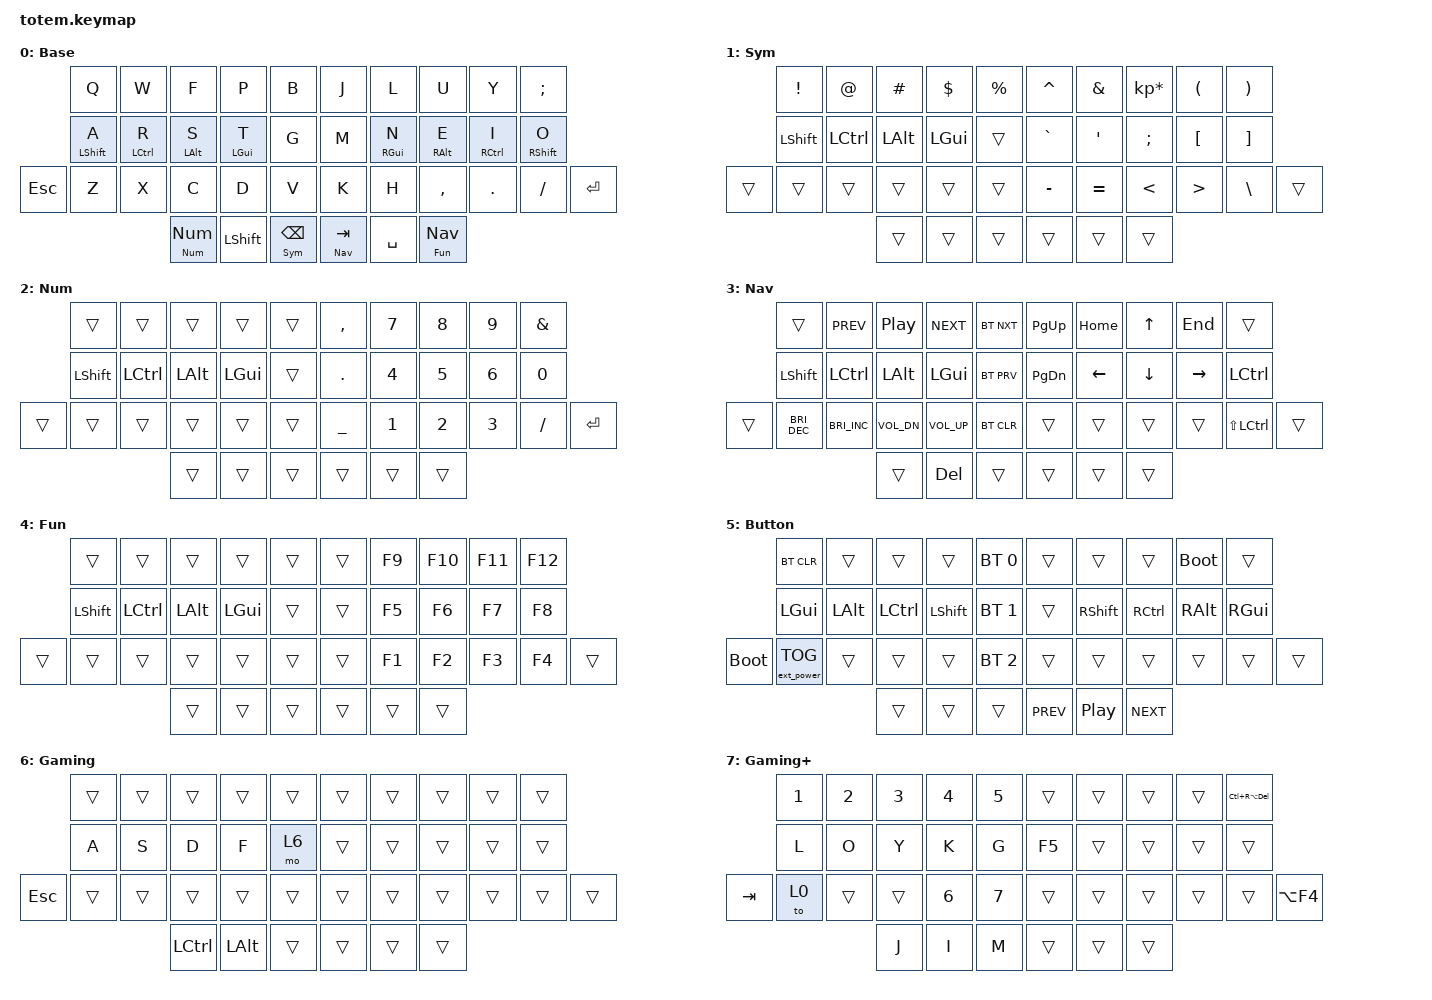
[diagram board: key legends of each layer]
//
//
//                                                        ▀▀▀▀▀     ▀▀▀▀▀          ▀▀█▀▀
//                                                        ▄▀▀▀▄  ▄  ▄▀▀▀▄  ▄  ▄▀▀▀▄  █  ▄▀▀▀▄
//                                                        █   █  █  █   █  █  █   █  █  █   █
//                                                         ▀▀▀   █   ▀▀▀   █   ▀▀▀   ▀   ▀▀▀
//                                                               █      ▄▄▄█▄▄▄    █   █  
//                                                               ▀      █  █  █     █▄█
//                                                             ▀▀▀▀▀    █  █  █      ▀
//                                                                      ▀  ▀  ▀
//
// ▄▄▄▄▄▄▄▄▄▄▄▄▄▄▄▄▄▄▄▄▄▄▄▄▄▄▄▄▄▄▄▄▄▄▄▄▄▄▄▄▄▄▄▄▄▄▄▄▄▄▄▄▄▄▄▄▄▄▄▄▄▄▄▄▄▄▄▄▄▄▄▄▄▄▄▄▄▄▄▄▄▄▄▄▄▄▄▄▄▄▄▄▄▄▄▄▄▄▄▄▄▄▄▄▄▄▄▄▄▄▄▄▄▄▄▄▄▄▄▄▄▄▄▄▄▄▄▄▄▄▄▄▄▄▄▄▄▄▄▄▄▄▄▄▄▄▄▄▄

#include <behaviors.dtsi>
#include <dt-bindings/zmk/bt.h>
#include <dt-bindings/zmk/ext_power.h>
#include <dt-bindings/zmk/keys.h>

#define Base        0
#define Sym         1
#define Num         2
#define Nav         3
#define Fun         4
#define Mouse       5
#define Button      7
#define Game        8
#define Gameplus    9

&mt {
    quick-tap-ms = <100>;
    global-quick-tap;
    flavor = "tap-preferred";
    tapping-term-ms = <170>;
};

&lt {
    tapping-term-ms = <240>;
    flavor = "balanced";
    quick-tap-ms = <150>;
};

/ {
    behaviors {
        hm: homerow_mods {
            compatible = "zmk,behavior-hold-tap";
            label = "HOMEROW_MODS";
            #binding-cells = <2>;
            flavor = "tap-preferred";
            tapping-term-ms = <250>;
            quick-tap-ms = <125>;
            require-prior-idle-ms = <125>;
            global-quick-tap;
            bindings =
                <&kp>,
                <&kp>;
        };
        mo_tog: behavior_mo_tog {
            compatible = "zmk,behavior-hold-tap";
            #binding-cells = <2>;
            flavor = "hold-preferred";
            tapping-term-ms = <180>;
            bindings = <&mo>, <&tog>;
        };
    };

    combos {
        compatible = "zmk,combos";
        combo_to_base {
            timeout-ms = <50>;
            key-positions = <0 1 2 3>;
            bindings = <&to Base>;
        };
    };

    keymap {
        compatible = "zmk,keymap";

        Base {
            label = "Base";
            bindings = <
            &kp Q       &kp W       &kp F           &kp P           &kp B           &kp J       &kp L       &kp U           &kp Y       &kp SEMICOLON
            &hm LSHFT A &hm LCTRL R &hm LALT S      &hm LGUI T      &kp G           &kp M       &hm RGUI N  &hm RALT E      &hm RCTRL I &hm RSHFT O
&kp ESCAPE  &kp Z       &kp X       &kp C           &kp D           &kp V           &kp K       &kp H       &kp COMMA       &kp DOT     &kp SLASH       &kp RET
                                    &mo_tog Num Num &kp LSHIFT      &lt Sym BSPC    &lt Nav TAB &kp SPACE   &mo_tog Fun Nav
            >;
        };

        Sym {
            label = "Sym";
            bindings = <
        &kp EXCL    &kp AT      &kp HASH    &kp DOLLAR  &kp PERCENT &kp CARET   &kp AMPERSAND   &kp KP_ASTERISK &kp LPAR    &kp RPAR
        &kp LSHFT   &kp LCTRL   &kp LALT    &kp LGUI    &trans      &kp GRAVE   &kp SQT         &kp SEMICOLON   &kp LBKT    &kp RBKT
&trans  &trans      &trans      &trans      &trans      &trans      &kp MINUS   &kp EQUAL       &kp LT          &kp GT      &kp BSLH  &trans
                                &trans      &trans      &trans      &trans      &trans          &trans
            >;
        };

        Num {
            label = "Num";
            bindings = <
        &trans      &trans      &trans      &trans      &trans      &kp COMMA   &kp N7      &kp N8      &kp N9  &kp AMPERSAND
        &kp LSHFT   &kp LCTRL   &kp LALT    &kp LGUI    &trans      &kp DOT     &kp N4      &kp N5      &kp N6  &kp N0
&trans  &trans      &trans      &trans      &trans      &trans      &kp UNDER   &kp N1      &kp N2      &kp N3  &kp SLASH       &kp RET
                                &trans      &trans      &trans      &trans      &trans      &trans
            >;
        };

        Nav {
            label = "Nav";
            bindings = <
        &trans          &kp C_PREV      &kp C_PLAY_PAUSE    &kp C_NEXT      &bt BT_NXT      &kp PG_UP   &kp HOME    &kp UP      &kp END   &trans
        &kp LSHFT       &kp LCTRL       &kp LALT            &kp LGUI        &bt BT_PRV      &kp PG_DN   &kp LEFT    &kp DOWN    &kp RIGHT &kp LCTRL
&trans  &kp C_BRI_DEC   &kp C_BRI_INC   &kp C_VOL_DN        &kp C_VOL_UP    &bt BT_CLR      &trans      &trans      &trans      &trans    &kp LS(LCTRL)     &trans
                                        &trans              &kp DEL         &trans      &trans      &trans      &trans
            >;
        };

        Fun {
            label = "Fun";
            bindings = <
        &trans      &trans      &trans      &trans      &trans  &trans  &kp F9  &kp F10 &kp F11 &kp F12
        &kp LSHFT   &kp LCTRL   &kp LALT    &kp LGUI    &trans  &trans  &kp F5  &kp F6  &kp F7  &kp F8
&trans  &trans      &trans      &trans      &trans      &trans  &trans  &kp F1  &kp F2  &kp F3  &kp F4  &trans
                                &trans      &trans      &trans  &trans  &trans  &trans
            >;
        };

        Button {
            label = "Button";
            bindings = <
                    &bt BT_CLR    &trans     &trans      &trans  &bt BT_SEL 0      &trans            &trans      &trans  &bootloader    &trans
                      &kp LGUI  &kp LALT  &kp LCTRL  &kp LSHIFT  &bt BT_SEL 1      &trans        &kp RSHIFT   &kp RCTRL     &kp RALT  &kp RGUI
&bootloader  &ext_power EP_TOG    &trans     &trans      &trans  &bt BT_SEL 2      &trans            &trans      &trans       &trans    &trans  &trans
                                             &trans      &trans        &trans  &kp C_PREV  &kp C_PLAY_PAUSE  &kp C_NEXT
            >;
        };

        Gaming {
            bindings = <
            &trans  &trans     &trans        &trans  &trans  &trans  &trans  &trans  &trans  &trans
             &kp A   &kp S      &kp D         &kp F   &mo 6  &trans  &trans  &trans  &trans  &trans
&kp ESCAPE  &trans  &trans     &trans        &trans  &trans  &trans  &trans  &trans  &trans  &trans  &trans
                            &kp LCTRL  &kp LEFT_ALT  &trans  &trans  &trans  &trans
            >;

            label = "Gaming";
        };

        Gaming+ {
            bindings = <
         &kp NUMBER_1  &kp NUMBER_2  &kp NUMBER_3  &kp NUMBER_4  &kp NUMBER_5  &trans  &trans  &trans  &trans  &kp LC(RA(DEL))
                &kp L         &kp O         &kp Y         &kp K         &kp G  &kp F5  &trans  &trans  &trans           &trans
&kp TAB         &to 0        &trans        &trans  &kp NUMBER_6  &kp NUMBER_7  &trans  &trans  &trans  &trans           &trans  &kp LA(F4)
                                            &kp J         &kp I         &kp M  &trans  &trans  &trans
            >;

            label = "Gaming+";
        };
    };
};
